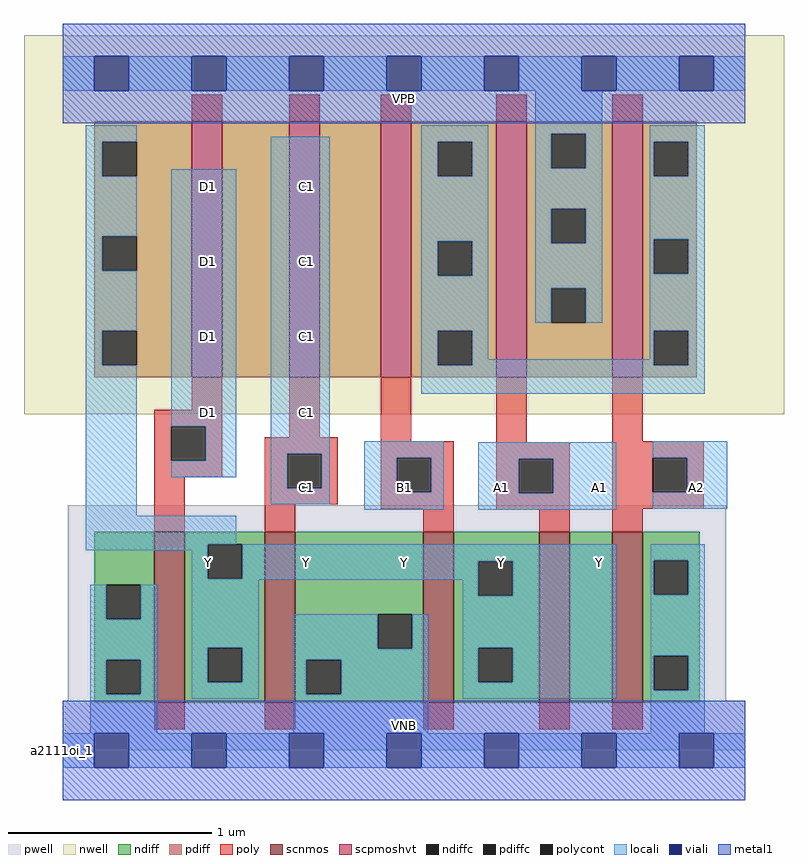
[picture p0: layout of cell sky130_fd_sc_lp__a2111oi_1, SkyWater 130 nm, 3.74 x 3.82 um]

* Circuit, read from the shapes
.subckt sky130_fd_sc_lp__a2111oi_1 A1 A2 B1 C1 D1 VGND VNB VPB VPWR Y
XM1 Y D1 VGND VNB sky130_fd_pr__nfet_01v8 w=0.84 l=0.15
XM2 VGND C1 Y VNB sky130_fd_pr__nfet_01v8 w=0.84 l=0.15
XM3 Y B1 VGND VNB sky130_fd_pr__nfet_01v8 w=0.84 l=0.15
XM4 n1 A1 Y VNB sky130_fd_pr__nfet_01v8 w=0.84 l=0.15
XM5 VGND A2 n1 VNB sky130_fd_pr__nfet_01v8 w=0.84 l=0.15
XM6 n2 D1 Y VPB sky130_fd_pr__pfet_01v8_hvt w=1.26 l=0.15
XM7 n3 C1 n2 VPB sky130_fd_pr__pfet_01v8_hvt w=1.26 l=0.15
XM8 n4 B1 n3 VPB sky130_fd_pr__pfet_01v8_hvt w=1.26 l=0.15
XM9 VPWR A1 n4 VPB sky130_fd_pr__pfet_01v8_hvt w=1.26 l=0.15
XM10 n4 A2 VPWR VPB sky130_fd_pr__pfet_01v8_hvt w=1.26 l=0.15
.ends

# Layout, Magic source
magic
tech sky130A
magscale 1 2
<< nwell >>
rect -38 331 710 704
<< pwell >>
rect 5 49 653 241
rect 0 0 672 49
<< scnmos >>
rect 90 47 120 215
rect 199 47 229 215
rect 355 47 385 215
rect 469 47 499 215
rect 541 47 571 215
<< scpmoshvt >>
rect 127 367 157 619
rect 223 367 253 619
rect 313 367 343 619
rect 427 367 457 619
rect 541 367 571 619
<< ndiff >>
rect 31 163 90 215
rect 31 129 43 163
rect 77 129 90 163
rect 31 89 90 129
rect 31 55 43 89
rect 77 55 90 89
rect 31 47 90 55
rect 120 203 199 215
rect 120 169 143 203
rect 177 169 199 203
rect 120 101 199 169
rect 120 67 143 101
rect 177 67 199 101
rect 120 47 199 67
rect 229 134 355 215
rect 229 100 310 134
rect 344 100 355 134
rect 229 89 355 100
rect 229 55 240 89
rect 274 55 355 89
rect 229 47 355 55
rect 385 186 469 215
rect 385 152 409 186
rect 443 152 469 186
rect 385 101 469 152
rect 385 67 409 101
rect 443 67 469 101
rect 385 47 469 67
rect 499 47 541 215
rect 571 187 627 215
rect 571 153 582 187
rect 616 153 627 187
rect 571 93 627 153
rect 571 59 582 93
rect 616 59 627 93
rect 571 47 627 59
<< pdiff >>
rect 31 599 127 619
rect 31 565 39 599
rect 73 565 127 599
rect 31 506 127 565
rect 31 472 39 506
rect 73 472 127 506
rect 31 413 127 472
rect 31 379 39 413
rect 73 379 127 413
rect 31 367 127 379
rect 157 367 223 619
rect 253 367 313 619
rect 343 599 427 619
rect 343 565 369 599
rect 403 565 427 599
rect 343 501 427 565
rect 343 467 369 501
rect 403 467 427 501
rect 343 413 427 467
rect 343 379 369 413
rect 403 379 427 413
rect 343 367 427 379
rect 457 607 541 619
rect 457 573 481 607
rect 515 573 541 607
rect 457 533 541 573
rect 457 499 481 533
rect 515 499 541 533
rect 457 455 541 499
rect 457 421 481 455
rect 515 421 541 455
rect 457 367 541 421
rect 571 599 624 619
rect 571 565 582 599
rect 616 565 624 599
rect 571 503 624 565
rect 571 469 582 503
rect 616 469 624 503
rect 571 413 624 469
rect 571 379 582 413
rect 616 379 624 413
rect 571 367 624 379
<< ndiffc >>
rect 43 129 77 163
rect 43 55 77 89
rect 143 169 177 203
rect 143 67 177 101
rect 310 100 344 134
rect 240 55 274 89
rect 409 152 443 186
rect 409 67 443 101
rect 582 153 616 187
rect 582 59 616 93
<< pdiffc >>
rect 39 565 73 599
rect 39 472 73 506
rect 39 379 73 413
rect 369 565 403 599
rect 369 467 403 501
rect 369 379 403 413
rect 481 573 515 607
rect 481 499 515 533
rect 481 421 515 455
rect 582 565 616 599
rect 582 469 616 503
rect 582 379 616 413
<< poly >>
rect 127 619 157 645
rect 223 619 253 645
rect 313 619 343 645
rect 427 619 457 645
rect 541 619 571 645
rect 127 335 157 367
rect 90 319 157 335
rect 90 285 107 319
rect 141 285 157 319
rect 223 308 253 367
rect 90 269 157 285
rect 199 292 271 308
rect 90 215 120 269
rect 199 258 221 292
rect 255 258 271 292
rect 199 242 271 258
rect 313 304 343 367
rect 313 288 385 304
rect 313 254 329 288
rect 363 254 385 288
rect 199 215 229 242
rect 313 238 385 254
rect 355 215 385 238
rect 427 303 457 367
rect 541 304 571 367
rect 427 287 499 303
rect 427 253 449 287
rect 483 253 499 287
rect 427 237 499 253
rect 469 215 499 237
rect 541 288 631 304
rect 541 254 581 288
rect 615 254 631 288
rect 541 238 631 254
rect 541 215 571 238
rect 90 21 120 47
rect 199 21 229 47
rect 355 21 385 47
rect 469 21 499 47
rect 541 21 571 47
<< polycont >>
rect 107 285 141 319
rect 221 258 255 292
rect 329 254 363 288
rect 449 253 483 287
rect 581 254 615 288
<< locali >>
rect 0 649 31 683
rect 65 649 127 683
rect 161 649 223 683
rect 257 649 319 683
rect 353 649 415 683
rect 449 649 511 683
rect 545 649 607 683
rect 641 649 672 683
rect 23 599 73 615
rect 23 565 39 599
rect 23 506 73 565
rect 23 472 39 506
rect 23 413 73 472
rect 23 379 39 413
rect 23 231 73 379
rect 107 319 171 572
rect 141 285 171 319
rect 107 269 171 285
rect 205 292 263 604
rect 353 599 419 615
rect 353 565 369 599
rect 403 565 419 599
rect 353 501 419 565
rect 353 467 369 501
rect 403 467 419 501
rect 353 413 419 467
rect 465 607 531 649
rect 465 573 481 607
rect 515 573 531 607
rect 465 533 531 573
rect 465 499 481 533
rect 515 499 531 533
rect 465 455 531 499
rect 465 421 481 455
rect 515 421 531 455
rect 578 599 632 615
rect 578 565 582 599
rect 616 565 632 599
rect 578 503 632 565
rect 578 469 582 503
rect 616 469 632 503
rect 353 379 369 413
rect 403 385 419 413
rect 578 413 632 469
rect 578 385 582 413
rect 403 379 582 385
rect 616 379 632 413
rect 353 351 632 379
rect 205 258 221 292
rect 255 258 263 292
rect 205 242 263 258
rect 297 288 375 304
rect 297 254 329 288
rect 363 254 375 288
rect 297 237 375 254
rect 409 287 545 303
rect 409 253 449 287
rect 483 253 545 287
rect 409 237 545 253
rect 581 288 654 304
rect 615 254 654 288
rect 581 238 654 254
rect 23 203 171 231
rect 23 197 143 203
rect 127 169 143 197
rect 177 186 545 203
rect 177 169 409 186
rect 127 168 409 169
rect 27 129 43 163
rect 77 129 93 163
rect 27 89 93 129
rect 27 55 43 89
rect 77 55 93 89
rect 27 17 93 55
rect 127 101 193 168
rect 394 152 409 168
rect 443 152 545 186
rect 127 67 143 101
rect 177 67 193 101
rect 127 51 193 67
rect 227 100 310 134
rect 344 100 360 134
rect 227 89 360 100
rect 227 55 240 89
rect 274 55 360 89
rect 227 17 360 55
rect 394 101 545 152
rect 394 67 409 101
rect 443 67 545 101
rect 394 51 545 67
rect 579 187 632 203
rect 579 153 582 187
rect 616 153 632 187
rect 579 93 632 153
rect 579 59 582 93
rect 616 59 632 93
rect 579 17 632 59
rect 0 -17 31 17
rect 65 -17 127 17
rect 161 -17 223 17
rect 257 -17 319 17
rect 353 -17 415 17
rect 449 -17 511 17
rect 545 -17 607 17
rect 641 -17 672 17
<< viali >>
rect 31 649 65 683
rect 127 649 161 683
rect 223 649 257 683
rect 319 649 353 683
rect 415 649 449 683
rect 511 649 545 683
rect 607 649 641 683
rect 31 -17 65 17
rect 127 -17 161 17
rect 223 -17 257 17
rect 319 -17 353 17
rect 415 -17 449 17
rect 511 -17 545 17
rect 607 -17 641 17
<< metal1 >>
rect 0 683 672 715
rect 0 649 31 683
rect 65 649 127 683
rect 161 649 223 683
rect 257 649 319 683
rect 353 649 415 683
rect 449 649 511 683
rect 545 649 607 683
rect 641 649 672 683
rect 0 617 672 649
rect 0 17 672 49
rect 0 -17 31 17
rect 65 -17 127 17
rect 161 -17 223 17
rect 257 -17 319 17
rect 353 -17 415 17
rect 449 -17 511 17
rect 545 -17 607 17
rect 641 -17 672 17
rect 0 -49 672 -17
<< labels >>
flabel pwell s 0 0 672 49 0 FreeSans 200 0 0 0 VNB
port 7 nsew ground bidirectional
flabel nwell s 0 617 672 666 0 FreeSans 200 0 0 0 VPB
port 8 nsew power bidirectional
rlabel comment s 0 0 0 0 4 a2111oi_1
flabel metal1 s 0 617 672 666 0 FreeSans 340 0 0 0 VPWR
port 9 nsew power bidirectional
flabel metal1 s 0 0 672 49 0 FreeSans 340 0 0 0 VGND
port 6 nsew ground bidirectional
flabel locali s 415 242 449 276 0 FreeSans 340 0 0 0 A1
port 1 nsew signal input
flabel locali s 511 242 545 276 0 FreeSans 340 0 0 0 A1
port 1 nsew signal input
flabel locali s 607 242 641 276 0 FreeSans 340 0 0 0 A2
port 2 nsew signal input
flabel locali s 319 242 353 276 0 FreeSans 340 0 0 0 B1
port 3 nsew signal input
flabel locali s 223 242 257 276 0 FreeSans 340 0 0 0 C1
port 4 nsew signal input
flabel locali s 223 316 257 350 0 FreeSans 340 0 0 0 C1
port 4 nsew signal input
flabel locali s 223 390 257 424 0 FreeSans 340 0 0 0 C1
port 4 nsew signal input
flabel locali s 223 464 257 498 0 FreeSans 340 0 0 0 C1
port 4 nsew signal input
flabel locali s 223 538 257 572 0 FreeSans 340 0 0 0 C1
port 4 nsew signal input
flabel locali s 127 316 161 350 0 FreeSans 340 0 0 0 D1
port 5 nsew signal input
flabel locali s 127 390 161 424 0 FreeSans 340 0 0 0 D1
port 5 nsew signal input
flabel locali s 127 464 161 498 0 FreeSans 340 0 0 0 D1
port 5 nsew signal input
flabel locali s 127 538 161 572 0 FreeSans 340 0 0 0 D1
port 5 nsew signal input
flabel locali s 127 168 161 202 0 FreeSans 340 0 0 0 Y
port 10 nsew signal output
flabel locali s 223 168 257 202 0 FreeSans 340 0 0 0 Y
port 10 nsew signal output
flabel locali s 319 168 353 202 0 FreeSans 340 0 0 0 Y
port 10 nsew signal output
flabel locali s 415 168 449 202 0 FreeSans 340 0 0 0 Y
port 10 nsew signal output
flabel locali s 511 168 545 202 0 FreeSans 340 0 0 0 Y
port 10 nsew signal output
<< properties >>
string LEFsite unit
string LEFclass CORE
string FIXED_BBOX 0 0 672 666
string GDS_FILE $PDKPATH/libs.ref/sky130_fd_sc_lp/gds/sky130_fd_sc_lp.gds
string LEFsymmetry X Y R90
string GDS_END 4850042
string GDS_START 4842462
<< end >>
